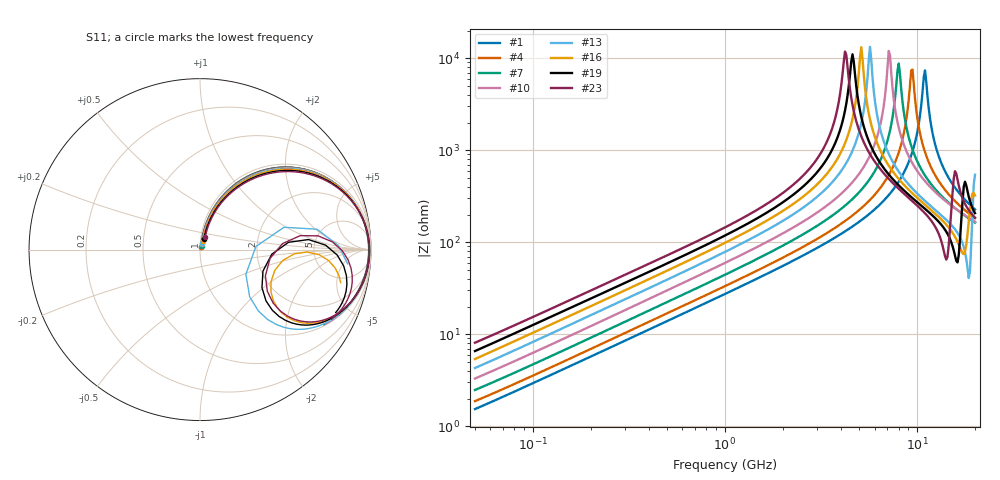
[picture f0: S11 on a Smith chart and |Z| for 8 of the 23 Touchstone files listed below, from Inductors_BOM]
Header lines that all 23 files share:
!These Parameters are Measured in Series Mode Connection
!  o--[Z]--o
!Port1  Port2
!  o-------o
!Freq. Start=50[MHz] Stop=20[GHz], 401[Steps]
# Hz S RI R 50
!Freq.(Hz) S11(Real) S11(Imag) S21(Real) S21(Imag) S12(Real) S12(Imag) S22(Real) S22(Imag)
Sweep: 50 MHz to 20 GHz
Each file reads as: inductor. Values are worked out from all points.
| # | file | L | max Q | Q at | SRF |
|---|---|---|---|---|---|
| 1 | LQP02TQ4N2B02_series.s2p | 4.62 nH | 29.3 | 3.519 GHz | 10.82 GHz |
| 2 | LQP02TQ4N3H02_series.s2p | 4.66 nH | 29.4 | 3.681 GHz | 10.99 GHz |
| 3 | LQP02TQ4N7H02_series.s2p | 5.21 nH | 28.4 | 2.985 GHz | 9.6 GHz |
| 4 | LQP02TQ5N1H02_series.s2p | 5.55 nH | 28.1 | 3.169 GHz | 9.317 GHz |
| 5 | LQP02TQ5N6H02_series.s2p | 6.13 nH | 28.1 | 3.217 GHz | 9.6 GHz |
| 6 | LQP02TQ6N2H02_series.s2p | 6.77 nH | 27.8 | 2.94 GHz | 8.775 GHz |
| 7 | LQP02TQ6N8H02_series.s2p | 7.37 nH | 27.2 | 2.687 GHz | 7.902 GHz |
| 8 | LQP02TQ7N5H02_series.s2p | 8.19 nH | 26.8 | 2.769 GHz | 8.265 GHz |
| 9 | LQP02TQ8N2H02_series.s2p | 8.9 nH | 29.3 | 2.853 GHz | 8.265 GHz |
| 10 | LQP02TQ9N1H02_series.s2p | 9.91 nH | 26.1 | 2.728 GHz | 7.115 GHz |
| 11 | LQP02TQ10NH02_series.s2p | 10.8 nH | 25.5 | 2.608 GHz | 6.312 GHz |
| 12 | LQP02TQ11NH02_series.s2p | 12 nH | 22.6 | 2.456 GHz | 5.856 GHz |
| 13 | LQP02TQ12NH02_series.s2p | 13 nH | 22.8 | 2.349 GHz | 5.683 GHz |
| 14 | LQP02TQ13NH02_series.s2p | 14 nH | 21.6 | 2.384 GHz | 5.599 GHz |
| 15 | LQP02TQ14NH02_series.s2p | 15.5 nH | 24.3 | 2.147 GHz | 5.195 GHz |
| 16 | LQP02TQ15NH02_series.s2p | 16.5 nH | 20.1 | 2.179 GHz | 5.041 GHz |
| 17 | LQP02TQ16NH02_series.s2p | 17.4 nH | 20.7 | 1.962 GHz | 4.967 GHz |
| 18 | LQP02TQ17NH02_series.s2p | 19.2 nH | 21.9 | 1.962 GHz | 4.748 GHz |
| 19 | LQP02TQ18NH02_series.s2p | 20 nH | 16.2 | 1.876 GHz | 4.54 GHz |
| 20 | LQP02TQ19NH02_series.s2p | 21.6 nH | 17.3 | 1.992 GHz | 4.406 GHz |
| 21 | LQP02TQ20NH02_series.s2p | 22.3 nH | 14.8 | 1.933 GHz | 4.34 GHz |
| 22 | LQP02TQ21NH02_series.s2p | 23.4 nH | 15 | 1.741 GHz | 4.34 GHz |
| 23 | LQP02TQ22NH02_series.s2p | 24.3 nH | 14.2 | 1.821 GHz | 4.212 GHz |
